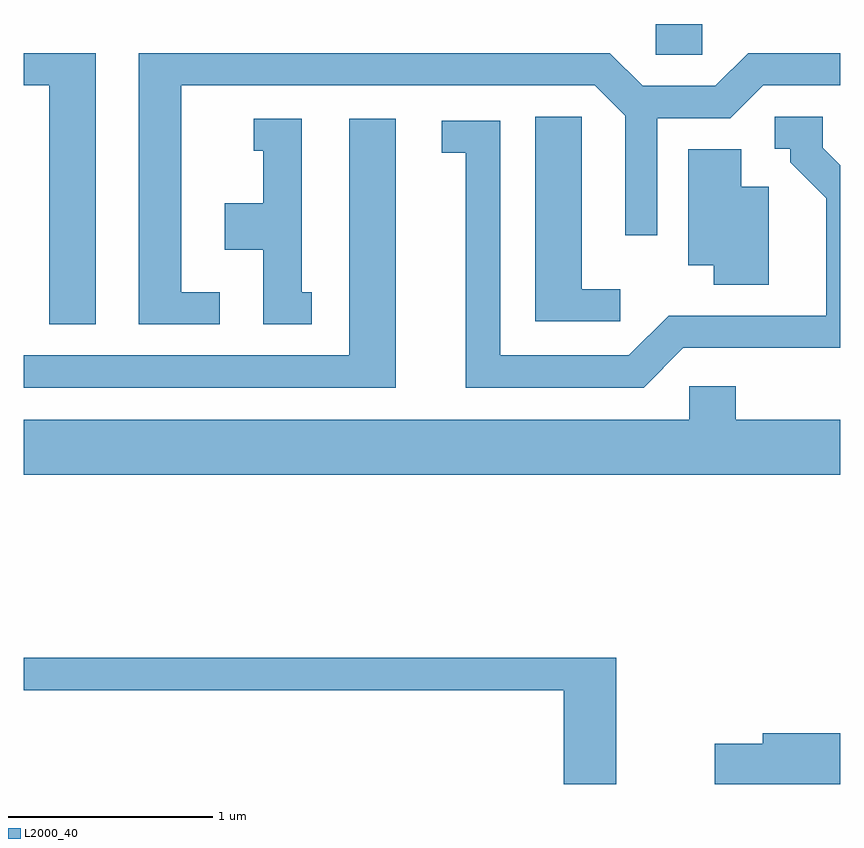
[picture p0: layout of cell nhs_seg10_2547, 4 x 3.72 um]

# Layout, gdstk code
import gdstk
lib = gdstk.Library(unit=1e-6, precision=1e-09)
def R(c, l, rs):  # rectangles x0, y0, x1, y1
    for r in rs: c.add(gdstk.rectangle(r[:2], r[2:], *l))
def P(c, l, *ps):  # polygons
    for p in ps: c.add(gdstk.Polygon(p, *l))
L2000_40 = (2000, 40)

nhs_seg10_2547 = lib.new_cell('nhs_seg10_2547')
R(nhs_seg10_2547, L2000_40, [(262.706,2160.371,262.934,2160.522)])
P(nhs_seg10_2547, L2000_40, [(260.573,2159.209),(260.384,2159.209),(260.384,2160.221),(262.409,2160.221),(262.556,2160.074),(262.556,2159.488),(262.714,2159.488),(262.714,2160.061),(263.072,2160.061),(263.232,2160.221),(263.611,2160.221),(263.611,2160.379),(263.159,2160.379),(262.999,2160.219),(262.642,2160.219),(262.482,2160.379),(260.176,2160.379),(260.176,2159.051),(260.573,2159.051)],
  [(259.964,2160.379),(259.611,2160.379),(259.611,2160.221),(259.736,2160.221),(259.736,2159.051),(259.964,2159.051)],
  [(262.842,2158.936),(263.611,2158.936),(263.611,2159.83),(263.524,2159.917),(263.524,2160.069),(263.288,2160.069),(263.288,2159.911),(263.366,2159.911),(263.366,2159.844),(263.541,2159.669),(263.541,2159.094),(262.769,2159.094),(262.574,2158.899),(261.944,2158.899),(261.944,2160.049),(261.658,2160.049),(261.658,2159.891),(261.776,2159.891),(261.776,2158.741),(262.647,2158.741)],
  [(262.533,2159.224),(262.344,2159.224),(262.344,2160.069),(262.116,2160.069),(262.116,2159.066),(262.533,2159.066)],
  [(261.022,2159.209),(260.974,2159.209),(260.974,2160.059),(260.738,2160.059),(260.738,2159.901),(260.786,2159.901),(260.786,2159.644),(260.596,2159.644),(260.596,2159.416),(260.786,2159.416),(260.786,2159.051),(261.022,2159.051)],
  [(261.434,2160.059),(261.206,2160.059),(261.206,2158.899),(259.611,2158.899),(259.611,2158.741),(261.434,2158.741)],
  [(263.259,2159.724),(263.124,2159.724),(263.124,2159.909),(262.866,2159.909),(262.866,2159.341),(262.991,2159.341),(262.991,2159.246),(263.259,2159.246)],
  [(263.611,2158.584),(263.099,2158.584),(263.099,2158.749),(262.871,2158.749),(262.871,2158.584),(259.611,2158.584),(259.611,2158.316),(263.611,2158.316)],
  [(262.514,2157.419),(259.611,2157.419),(259.611,2157.261),(262.256,2157.261),(262.256,2156.801),(262.514,2156.801)],
  [(263.611,2157.049),(263.231,2157.049),(263.231,2156.999),(262.996,2156.999),(262.996,2156.801),(263.611,2156.801)])

lib.write_gds('nhs_seg10_2547.gds')
